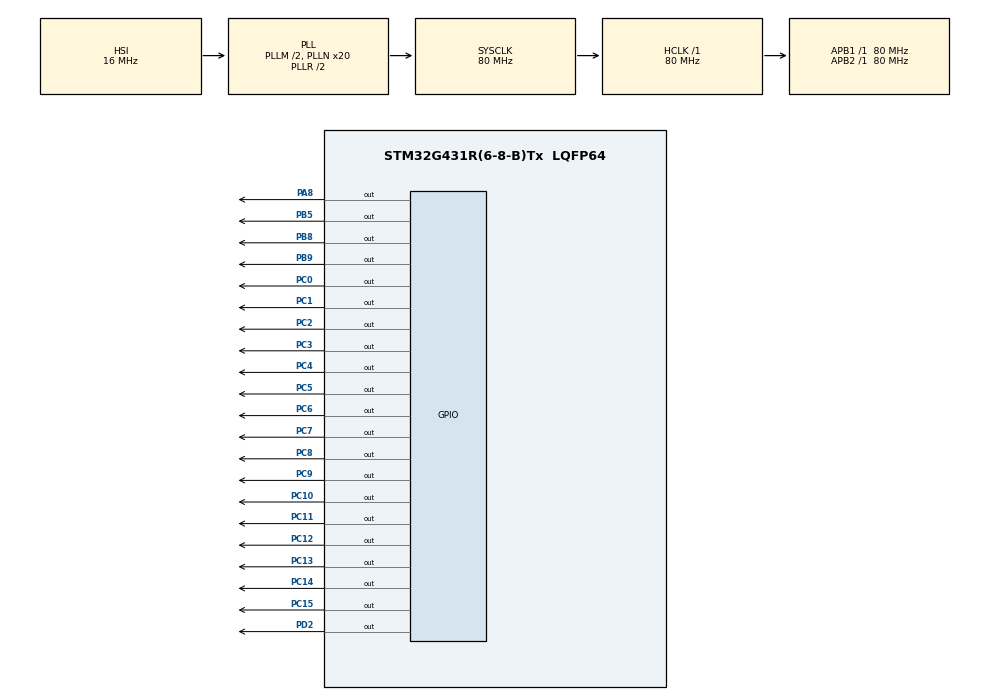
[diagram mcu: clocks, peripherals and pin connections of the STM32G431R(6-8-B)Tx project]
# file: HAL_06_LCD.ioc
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Mcu.Family=STM32G4
Mcu.Name=STM32G431R(6-8-B)Tx
Mcu.Package=LQFP64
NVIC.PriorityGroup=NVIC_PRIORITYGROUP_4
PA8.Signal=GPIO_Output
PB5.Signal=GPIO_Output
PB8-BOOT0.Signal=GPIO_Output
PB9.Signal=GPIO_Output
PC0.Signal=GPIO_Output
PC1.Signal=GPIO_Output
PC10.Signal=GPIO_Output
PC11.Signal=GPIO_Output
PC12.Signal=GPIO_Output
PC13.Signal=GPIO_Output
PC14-OSC32_IN.Signal=GPIO_Output
PC15-OSC32_OUT.Signal=GPIO_Output
PC2.Signal=GPIO_Output
PC3.Signal=GPIO_Output
PC4.Signal=GPIO_Output
PC5.Signal=GPIO_Output
PC6.Signal=GPIO_Output
PC7.Signal=GPIO_Output
PC8.Signal=GPIO_Output
PC9.Signal=GPIO_Output
PD2.Signal=GPIO_Output
PF0-OSC_IN.Mode=HSE-External-Oscillator
PF0-OSC_IN.Signal=RCC_OSC_IN
PF1-OSC_OUT.Mode=HSE-External-Oscillator
PF1-OSC_OUT.Signal=RCC_OSC_OUT
ProjectManager.HeapSize=0x200
ProjectManager.StackSize=0x400
ProjectManager.TargetToolchain=MDK-ARM V5
RCC.ADC12Freq_Value=80000000
RCC.AHBFreq_Value=80000000
RCC.APB1Freq_Value=80000000
RCC.APB1TimFreq_Value=80000000
RCC.APB2Freq_Value=80000000
RCC.APB2TimFreq_Value=80000000
RCC.CortexFreq_Value=80000000
RCC.EXTERNAL_CLOCK_VALUE=12288000
RCC.HCLKFreq_Value=80000000
RCC.HSE_VALUE=24000000
RCC.HSI48_VALUE=48000000
RCC.HSI_VALUE=16000000
RCC.LSE_VALUE=32768
RCC.PLLM=RCC_PLLM_DIV2
RCC.PLLN=20
RCC.SYSCLKFreq_VALUE=80000000
RCC.SYSCLKSource=RCC_SYSCLKSOURCE_PLLCLK
RCC.USBFreq_Value=80000000
RCC.VCOOutputFreq_Value=160000000
VP_SYS_VS_DBSignals.Mode=DisableDeadBatterySignals
board=custom

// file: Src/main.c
/* USER CODE BEGIN Header */
/**
  ******************************************************************************
  * @file           : main.c
  * @brief          : Main program body
  ******************************************************************************
  * @attention
  *
  * <h2><center>&copy; Copyright (c) 2021 STMicroelectronics.
  * All rights reserved.</center></h2>
  *
  * This software component is licensed by ST under BSD 3-Clause license,
  * the "License"; You may not use this file except in compliance with the
  * License. You may obtain a copy of the License at:
  *                        opensource.org/licenses/BSD-3-Clause
  *
  ******************************************************************************
  */
/* USER CODE END Header */

#include "main.h"
#include "gpio.h"
#include "led.h"
#include "key.h"

void SystemClock_Config(void);

  unsigned int val=0;

  __IO uint32_t LED_Tick=0;
  u8 LED_Con=0xff;

  void LED_Process(void)
  {
	if(uwTick-LED_Tick<500)return;
	  LED_Tick=uwTick;
	  LED_control(LED_Con);
	  LED_Con=~LED_Con;

  }
  __IO uint32_t KEY_Tick=0;
  void KEY_Process(void)
  {
	if(uwTick-KEY_Tick<10)return;
	  KEY_Tick=uwTick;
	  key_Read();
	  if(Trg)

	  LED_control(Trg);

  }

int main(void)
{

  /* MCU Configuration--------------------------------------------------------*/

  /* Reset of all peripherals, Initializes the Flash interface and the Systick. */
  HAL_Init();

  /* Configure the system clock */
  SystemClock_Config();

  /* Initialize all configured peripherals */
  MX_GPIO_Init();
  /* USER CODE BEGIN 2 */

	LCD_Init();
  /* USER CODE END 2 */

  /* Infinite loop */
  /* USER CODE BEGIN WHILE */

	LCD_Clear(Blue);
	LCD_SetBackColor(Blue);
	LCD_SetTextColor(White);

	LCD_DisplayStringLine(Line0, (uint8_t *)"                    ");
	LCD_DisplayStringLine(Line1, (uint8_t *)"                    ");
	LCD_DisplayStringLine(Line2, (uint8_t *)"      LCD Test1      ");
	LCD_DisplayStringLine(Line3, (uint8_t *)"                    ");
	LCD_DisplayStringLine(Line4, (uint8_t *)"                    ");

	LCD_SetBackColor(White);
	LCD_SetTextColor(Blue);

	LCD_DisplayStringLine(Line5, (uint8_t *)"                    ");
	LCD_DisplayStringLine(Line6, (uint8_t *)"       HAL LIB      ");
	LCD_DisplayStringLine(Line7, (uint8_t *)"                    ");
	LCD_DisplayStringLine(Line8, (uint8_t *)"         @80        ");
	LCD_DisplayStringLine(Line9, (uint8_t *)"                    ");

  while (1)
  {
    /* USER CODE END WHILE */

    /* USER CODE BEGIN 3 */

//	  HAL_GPIO_WritePin(GPIOC,GPIO_PIN_15,GPIO_PIN_SET);
//	   HAL_GPIO_WritePin(GPIOD,GPIO_PIN_2,GPIO_PIN_SET);
//	   HAL_GPIO_WritePin(GPIOD,GPIO_PIN_2,GPIO_PIN_RESET);

	 KEY_Process();

  }
  /* USER CODE END 3 */
}

void SystemClock_Config(void)
{
  RCC_OscInitTypeDef RCC_OscInitStruct = {0};
  RCC_ClkInitTypeDef RCC_ClkInitStruct = {0};

  /** Configure the main internal regulator output voltage
  */
  HAL_PWREx_ControlVoltageScaling(PWR_REGULATOR_VOLTAGE_SCALE1);
  /** Initializes the CPU, AHB and APB busses clocks
  */
  RCC_OscInitStruct.OscillatorType = RCC_OSCILLATORTYPE_HSI;
  RCC_OscInitStruct.HSIState = RCC_HSI_ON;
  RCC_OscInitStruct.HSICalibrationValue = RCC_HSICALIBRATION_DEFAULT;
  RCC_OscInitStruct.PLL.PLLState = RCC_PLL_ON;
  RCC_OscInitStruct.PLL.PLLSource = RCC_PLLSOURCE_HSI;
  RCC_OscInitStruct.PLL.PLLM = RCC_PLLM_DIV2;
  RCC_OscInitStruct.PLL.PLLN = 20;
  RCC_OscInitStruct.PLL.PLLP = RCC_PLLP_DIV2;
  RCC_OscInitStruct.PLL.PLLQ = RCC_PLLQ_DIV2;
  RCC_OscInitStruct.PLL.PLLR = RCC_PLLR_DIV2;
  if (HAL_RCC_OscConfig(&RCC_OscInitStruct) != HAL_OK)
  {
    Error_Handler();
  }
  /** Initializes the CPU, AHB and APB busses clocks
  */
  RCC_ClkInitStruct.ClockType = RCC_CLOCKTYPE_HCLK|RCC_CLOCKTYPE_SYSCLK
                              |RCC_CLOCKTYPE_PCLK1|RCC_CLOCKTYPE_PCLK2;
  RCC_ClkInitStruct.SYSCLKSource = RCC_SYSCLKSOURCE_PLLCLK;
  RCC_ClkInitStruct.AHBCLKDivider = RCC_SYSCLK_DIV1;
  RCC_ClkInitStruct.APB1CLKDivider = RCC_HCLK_DIV1;
  RCC_ClkInitStruct.APB2CLKDivider = RCC_HCLK_DIV1;

  if (HAL_RCC_ClockConfig(&RCC_ClkInitStruct, FLASH_LATENCY_3) != HAL_OK)
  {
    Error_Handler();
  }
}

void Error_Handler(void)
{
}

/************************ (C) COPYRIGHT STMicroelectronics *****END OF FILE****/
